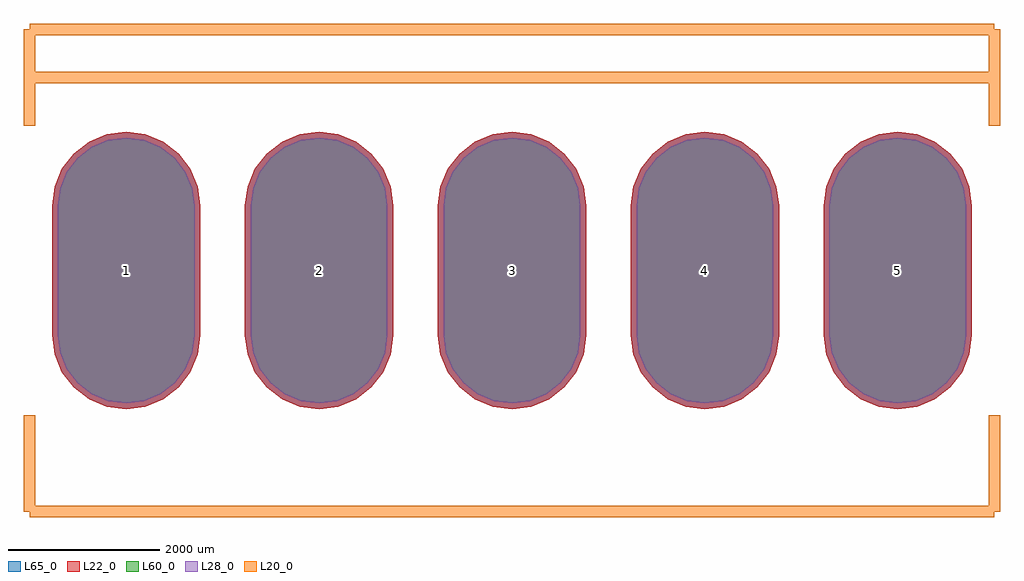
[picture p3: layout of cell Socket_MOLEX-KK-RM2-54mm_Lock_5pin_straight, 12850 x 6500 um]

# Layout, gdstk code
import gdstk
lib = gdstk.Library(unit=1e-6, precision=1e-09)
def P(c, l, *ps):  # polygons
    for p in ps: c.add(gdstk.Polygon(p, *l))
L20_0 = (20, 0)
L22_0 = (22, 0)
L28_0 = (28, 0)
L60_0 = (60, 0)
L65_0 = (65, 0)

socket_molex_kk_rm2_54mm = lib.new_cell('Socket_MOLEX-KK-RM2-54mm_Lock_5pin_straight')
P(socket_molex_kk_rm2_54mm, L22_0, [(5080,-1825.06),(5332.46,-1791.823),(5567.715,-1694.377),(5769.733,-1539.363),(5924.747,-1337.345),(6022.193,-1102.09),(6055.43,-849.63),(6055.43,849.63),(6022.193,1102.09),(5924.747,1337.345),(5769.733,1539.363),(5567.715,1694.377),(5332.46,1791.823),(5080,1825.06),(4827.54,1791.823),(4592.285,1694.377),(4390.267,1539.363),(4235.253,1337.345),(4137.807,1102.09),(4104.57,849.63),(4104.57,-849.63),(4137.807,-1102.09),(4235.253,-1337.345),(4390.267,-1539.363),(4592.285,-1694.377),(4827.54,-1791.823)],
  [(2540,-1825.06),(2792.46,-1791.823),(3027.715,-1694.377),(3229.733,-1539.363),(3384.747,-1337.345),(3482.193,-1102.09),(3515.43,-849.63),(3515.43,849.63),(3482.193,1102.09),(3384.747,1337.345),(3229.733,1539.363),(3027.715,1694.377),(2792.46,1791.823),(2540,1825.06),(2287.54,1791.823),(2052.285,1694.377),(1850.267,1539.363),(1695.253,1337.345),(1597.807,1102.09),(1564.57,849.63),(1564.57,-849.63),(1597.807,-1102.09),(1695.253,-1337.345),(1850.267,-1539.363),(2052.285,-1694.377),(2287.54,-1791.823)],
  [(0,-1825.06),(252.46,-1791.823),(487.715,-1694.377),(689.733,-1539.363),(844.747,-1337.345),(942.193,-1102.09),(975.43,-849.63),(975.43,849.63),(942.193,1102.09),(844.747,1337.345),(689.733,1539.363),(487.715,1694.377),(252.46,1791.823),(0,1825.06),(-252.46,1791.823),(-487.715,1694.377),(-689.733,1539.363),(-844.747,1337.345),(-942.193,1102.09),(-975.43,849.63),(-975.43,-849.63),(-942.193,-1102.09),(-844.747,-1337.345),(-689.733,-1539.363),(-487.715,-1694.377),(-252.46,-1791.823)],
  [(-2540,-1825.06),(-2287.54,-1791.823),(-2052.285,-1694.377),(-1850.267,-1539.363),(-1695.253,-1337.345),(-1597.807,-1102.09),(-1564.57,-849.63),(-1564.57,849.63),(-1597.807,1102.09),(-1695.253,1337.345),(-1850.267,1539.363),(-2052.285,1694.377),(-2287.54,1791.823),(-2540,1825.06),(-2792.46,1791.823),(-3027.715,1694.377),(-3229.733,1539.363),(-3384.747,1337.345),(-3482.193,1102.09),(-3515.43,849.63),(-3515.43,-849.63),(-3482.193,-1102.09),(-3384.747,-1337.345),(-3229.733,-1539.363),(-3027.715,-1694.377),(-2792.46,-1791.823)],
  [(-5080,-1825.06),(-4827.54,-1791.823),(-4592.285,-1694.377),(-4390.267,-1539.363),(-4235.253,-1337.345),(-4137.807,-1102.09),(-4104.57,-849.63),(-4104.57,849.63),(-4137.807,1102.09),(-4235.253,1337.345),(-4390.267,1539.363),(-4592.285,1694.377),(-4827.54,1791.823),(-5080,1825.06),(-5332.46,1791.823),(-5567.715,1694.377),(-5769.733,1539.363),(-5924.747,1337.345),(-6022.193,1102.09),(-6055.43,849.63),(-6055.43,-849.63),(-6022.193,-1102.09),(-5924.747,-1337.345),(-5769.733,-1539.363),(-5567.715,-1694.377),(-5332.46,-1791.823)])
P(socket_molex_kk_rm2_54mm, L28_0, [(5080,-1750.06),(5313.048,-1719.379),(5530.215,-1629.425),(5716.7,-1486.33),(5859.795,-1299.845),(5949.749,-1082.678),(5980.43,-849.63),(5980.43,849.63),(5949.749,1082.678),(5859.795,1299.845),(5716.7,1486.33),(5530.215,1629.425),(5313.048,1719.379),(5080,1750.06),(4846.952,1719.379),(4629.785,1629.425),(4443.3,1486.33),(4300.205,1299.845),(4210.251,1082.678),(4179.57,849.63),(4179.57,-849.63),(4210.251,-1082.678),(4300.205,-1299.845),(4443.3,-1486.33),(4629.785,-1629.425),(4846.952,-1719.379)],
  [(2540,-1750.06),(2773.048,-1719.379),(2990.215,-1629.425),(3176.7,-1486.33),(3319.795,-1299.845),(3409.749,-1082.678),(3440.43,-849.63),(3440.43,849.63),(3409.749,1082.678),(3319.795,1299.845),(3176.7,1486.33),(2990.215,1629.425),(2773.048,1719.379),(2540,1750.06),(2306.952,1719.379),(2089.785,1629.425),(1903.3,1486.33),(1760.205,1299.845),(1670.251,1082.678),(1639.57,849.63),(1639.57,-849.63),(1670.251,-1082.678),(1760.205,-1299.845),(1903.3,-1486.33),(2089.785,-1629.425),(2306.952,-1719.379)],
  [(0,-1750.06),(233.048,-1719.379),(450.215,-1629.425),(636.7,-1486.33),(779.795,-1299.845),(869.749,-1082.678),(900.43,-849.63),(900.43,849.63),(869.749,1082.678),(779.795,1299.845),(636.7,1486.33),(450.215,1629.425),(233.048,1719.379),(0,1750.06),(-233.048,1719.379),(-450.215,1629.425),(-636.7,1486.33),(-779.795,1299.845),(-869.749,1082.678),(-900.43,849.63),(-900.43,-849.63),(-869.749,-1082.678),(-779.795,-1299.845),(-636.7,-1486.33),(-450.215,-1629.425),(-233.048,-1719.379)],
  [(-2540,-1750.06),(-2306.952,-1719.379),(-2089.785,-1629.425),(-1903.3,-1486.33),(-1760.205,-1299.845),(-1670.251,-1082.678),(-1639.57,-849.63),(-1639.57,849.63),(-1670.251,1082.678),(-1760.205,1299.845),(-1903.3,1486.33),(-2089.785,1629.425),(-2306.952,1719.379),(-2540,1750.06),(-2773.048,1719.379),(-2990.215,1629.425),(-3176.7,1486.33),(-3319.795,1299.845),(-3409.749,1082.678),(-3440.43,849.63),(-3440.43,-849.63),(-3409.749,-1082.678),(-3319.795,-1299.845),(-3176.7,-1486.33),(-2990.215,-1629.425),(-2773.048,-1719.379)],
  [(-5080,-1750.06),(-4846.952,-1719.379),(-4629.785,-1629.425),(-4443.3,-1486.33),(-4300.205,-1299.845),(-4210.251,-1082.678),(-4179.57,-849.63),(-4179.57,849.63),(-4210.251,1082.678),(-4300.205,1299.845),(-4443.3,1486.33),(-4629.785,1629.425),(-4846.952,1719.379),(-5080,1750.06),(-5313.048,1719.379),(-5530.215,1629.425),(-5716.7,1486.33),(-5859.795,1299.845),(-5949.749,1082.678),(-5980.43,849.63),(-5980.43,-849.63),(-5949.749,-1082.678),(-5859.795,-1299.845),(-5716.7,-1486.33),(-5530.215,-1629.425),(-5313.048,-1719.379)])
P(socket_molex_kk_rm2_54mm, L60_0, [(5080,-1750.06),(5313.048,-1719.379),(5530.215,-1629.425),(5716.7,-1486.33),(5859.795,-1299.845),(5949.749,-1082.678),(5980.43,-849.63),(5980.43,849.63),(5949.749,1082.678),(5859.795,1299.845),(5716.7,1486.33),(5530.215,1629.425),(5313.048,1719.379),(5080,1750.06),(4846.952,1719.379),(4629.785,1629.425),(4443.3,1486.33),(4300.205,1299.845),(4210.251,1082.678),(4179.57,849.63),(4179.57,-849.63),(4210.251,-1082.678),(4300.205,-1299.845),(4443.3,-1486.33),(4629.785,-1629.425),(4846.952,-1719.379)],
  [(2540,-1750.06),(2773.048,-1719.379),(2990.215,-1629.425),(3176.7,-1486.33),(3319.795,-1299.845),(3409.749,-1082.678),(3440.43,-849.63),(3440.43,849.63),(3409.749,1082.678),(3319.795,1299.845),(3176.7,1486.33),(2990.215,1629.425),(2773.048,1719.379),(2540,1750.06),(2306.952,1719.379),(2089.785,1629.425),(1903.3,1486.33),(1760.205,1299.845),(1670.251,1082.678),(1639.57,849.63),(1639.57,-849.63),(1670.251,-1082.678),(1760.205,-1299.845),(1903.3,-1486.33),(2089.785,-1629.425),(2306.952,-1719.379)],
  [(0,-1750.06),(233.048,-1719.379),(450.215,-1629.425),(636.7,-1486.33),(779.795,-1299.845),(869.749,-1082.678),(900.43,-849.63),(900.43,849.63),(869.749,1082.678),(779.795,1299.845),(636.7,1486.33),(450.215,1629.425),(233.048,1719.379),(0,1750.06),(-233.048,1719.379),(-450.215,1629.425),(-636.7,1486.33),(-779.795,1299.845),(-869.749,1082.678),(-900.43,849.63),(-900.43,-849.63),(-869.749,-1082.678),(-779.795,-1299.845),(-636.7,-1486.33),(-450.215,-1629.425),(-233.048,-1719.379)],
  [(-2540,-1750.06),(-2306.952,-1719.379),(-2089.785,-1629.425),(-1903.3,-1486.33),(-1760.205,-1299.845),(-1670.251,-1082.678),(-1639.57,-849.63),(-1639.57,849.63),(-1670.251,1082.678),(-1760.205,1299.845),(-1903.3,1486.33),(-2089.785,1629.425),(-2306.952,1719.379),(-2540,1750.06),(-2773.048,1719.379),(-2990.215,1629.425),(-3176.7,1486.33),(-3319.795,1299.845),(-3409.749,1082.678),(-3440.43,849.63),(-3440.43,-849.63),(-3409.749,-1082.678),(-3319.795,-1299.845),(-3176.7,-1486.33),(-2990.215,-1629.425),(-2773.048,-1719.379)],
  [(-5080,-1750.06),(-4846.952,-1719.379),(-4629.785,-1629.425),(-4443.3,-1486.33),(-4300.205,-1299.845),(-4210.251,-1082.678),(-4179.57,-849.63),(-4179.57,849.63),(-4210.251,1082.678),(-4300.205,1299.845),(-4443.3,1486.33),(-4629.785,1629.425),(-4846.952,1719.379),(-5080,1750.06),(-5313.048,1719.379),(-5530.215,1629.425),(-5716.7,1486.33),(-5859.795,1299.845),(-5949.749,1082.678),(-5980.43,849.63),(-5980.43,-849.63),(-5949.749,-1082.678),(-5859.795,-1299.845),(-5716.7,-1486.33),(-5530.215,-1629.425),(-5313.048,-1719.379)])
P(socket_molex_kk_rm2_54mm, L65_0, [(5080,-1825.06),(5332.46,-1791.823),(5567.715,-1694.377),(5769.733,-1539.363),(5924.747,-1337.345),(6022.193,-1102.09),(6055.43,-849.63),(6055.43,849.63),(6022.193,1102.09),(5924.747,1337.345),(5769.733,1539.363),(5567.715,1694.377),(5332.46,1791.823),(5080,1825.06),(4827.54,1791.823),(4592.285,1694.377),(4390.267,1539.363),(4235.253,1337.345),(4137.807,1102.09),(4104.57,849.63),(4104.57,-849.63),(4137.807,-1102.09),(4235.253,-1337.345),(4390.267,-1539.363),(4592.285,-1694.377),(4827.54,-1791.823)],
  [(2540,-1825.06),(2792.46,-1791.823),(3027.715,-1694.377),(3229.733,-1539.363),(3384.747,-1337.345),(3482.193,-1102.09),(3515.43,-849.63),(3515.43,849.63),(3482.193,1102.09),(3384.747,1337.345),(3229.733,1539.363),(3027.715,1694.377),(2792.46,1791.823),(2540,1825.06),(2287.54,1791.823),(2052.285,1694.377),(1850.267,1539.363),(1695.253,1337.345),(1597.807,1102.09),(1564.57,849.63),(1564.57,-849.63),(1597.807,-1102.09),(1695.253,-1337.345),(1850.267,-1539.363),(2052.285,-1694.377),(2287.54,-1791.823)],
  [(0,-1825.06),(252.46,-1791.823),(487.715,-1694.377),(689.733,-1539.363),(844.747,-1337.345),(942.193,-1102.09),(975.43,-849.63),(975.43,849.63),(942.193,1102.09),(844.747,1337.345),(689.733,1539.363),(487.715,1694.377),(252.46,1791.823),(0,1825.06),(-252.46,1791.823),(-487.715,1694.377),(-689.733,1539.363),(-844.747,1337.345),(-942.193,1102.09),(-975.43,849.63),(-975.43,-849.63),(-942.193,-1102.09),(-844.747,-1337.345),(-689.733,-1539.363),(-487.715,-1694.377),(-252.46,-1791.823)],
  [(-2540,-1825.06),(-2287.54,-1791.823),(-2052.285,-1694.377),(-1850.267,-1539.363),(-1695.253,-1337.345),(-1597.807,-1102.09),(-1564.57,-849.63),(-1564.57,849.63),(-1597.807,1102.09),(-1695.253,1337.345),(-1850.267,1539.363),(-2052.285,1694.377),(-2287.54,1791.823),(-2540,1825.06),(-2792.46,1791.823),(-3027.715,1694.377),(-3229.733,1539.363),(-3384.747,1337.345),(-3482.193,1102.09),(-3515.43,849.63),(-3515.43,-849.63),(-3482.193,-1102.09),(-3384.747,-1337.345),(-3229.733,-1539.363),(-3027.715,-1694.377),(-2792.46,-1791.823)],
  [(-5080,-1825.06),(-4827.54,-1791.823),(-4592.285,-1694.377),(-4390.267,-1539.363),(-4235.253,-1337.345),(-4137.807,-1102.09),(-4104.57,-849.63),(-4104.57,849.63),(-4137.807,1102.09),(-4235.253,1337.345),(-4390.267,1539.363),(-4592.285,1694.377),(-4827.54,1791.823),(-5080,1825.06),(-5332.46,1791.823),(-5567.715,1694.377),(-5769.733,1539.363),(-5924.747,1337.345),(-6022.193,1102.09),(-6055.43,849.63),(-6055.43,-849.63),(-6022.193,-1102.09),(-5924.747,-1337.345),(-5769.733,-1539.363),(-5567.715,-1694.377),(-5332.46,-1791.823)])
socket_molex_kk_rm2_54mm.add(gdstk.FlexPath([(-6350,-3175),(-6350,-1905)], 149.998, ends="flush", simple_path=True, layer=20, datatype=0))  # L20_0
socket_molex_kk_rm2_54mm.add(gdstk.FlexPath([(6350,-3175),(-6350,-3175)], 149.998, ends="flush", simple_path=True, layer=20, datatype=0))  # L20_0
socket_molex_kk_rm2_54mm.add(gdstk.FlexPath([(-6350,1905),(-6350,3175)], 149.998, ends="flush", simple_path=True, layer=20, datatype=0))  # L20_0
socket_molex_kk_rm2_54mm.add(gdstk.FlexPath([(6350,1905),(6350,3175)], 149.998, ends="flush", simple_path=True, layer=20, datatype=0))  # L20_0
socket_molex_kk_rm2_54mm.add(gdstk.FlexPath([(-6350,3175),(6350,3175)], 149.998, ends="flush", simple_path=True, layer=20, datatype=0))  # L20_0
socket_molex_kk_rm2_54mm.add(gdstk.FlexPath([(6350,2540),(-6350,2540)], 149.998, ends="flush", simple_path=True, layer=20, datatype=0))  # L20_0
socket_molex_kk_rm2_54mm.add(gdstk.FlexPath([(6350,-3175),(6350,-1905)], 149.998, ends="flush", simple_path=True, layer=20, datatype=0))  # L20_0
socket_molex_kk_rm2_54mm.add(gdstk.Label('5', (5080,0), layer=28, texttype=0))
socket_molex_kk_rm2_54mm.add(gdstk.Label('4', (2540,0), layer=28, texttype=0))
socket_molex_kk_rm2_54mm.add(gdstk.Label('3', (0,0), layer=28, texttype=0))
socket_molex_kk_rm2_54mm.add(gdstk.Label('2', (-2540,0), layer=28, texttype=0))
socket_molex_kk_rm2_54mm.add(gdstk.Label('1', (-5080,0), layer=28, texttype=0))
socket_molex_kk_rm2_54mm.add(gdstk.Label('type', (0,-5080), layer=9, texttype=0))
socket_molex_kk_rm2_54mm.add(gdstk.Label('devicename', (0,5080), layer=9, texttype=0))

lib.write_gds('Socket_MOLEX-KK-RM2-54mm_Lock_5pin_straight.gds')
